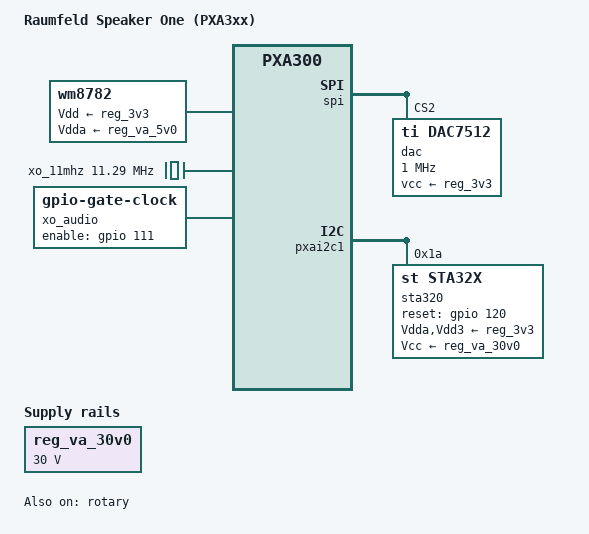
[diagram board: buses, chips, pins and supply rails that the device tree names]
// SPDX-License-Identifier: GPL-2.0

/dts-v1/;

#include "pxa300-raumfeld-common.dtsi"

/ {
	model = "Raumfeld Speaker One (PXA3xx)";
	compatible = "raumfeld,raumfeld-speaker-one-pxa303", "marvell,pxa300";

	wm8782: wm8782 {
		compatible = "wm8782";
		#sound-dai-cells = <0>;
		Vdd-supply = <&reg_3v3>;
		Vdda-supply = <&reg_va_5v0>;
	};

	xo_11mhz: oscillator-11mhz {
		compatible = "fixed-clock";
		#clock-cells = <0>;
		clock-frequency = <11289600>;
		clock-accuracy = <100>;
	};

	xo_audio: clock-gate {
		compatible = "gpio-gate-clock";
		pinctrlnames = "default";
		pinctrl-0 = <&xo_audio_pins>;
		clocks = <&xo_11mhz>;
		#clock-cells = <0>;
		enable-gpios = <&gpio 111 GPIO_ACTIVE_HIGH>;
	};

	reg_va_30v0: regulator-va-30v0 {
		compatible = "regulator-fixed";
		regulator-name = "va-30v0-fixed-supply";
		regulator-min-microvolt = <30000000>;
		regulator-max-microvolt = <30000000>;
	};

	sound {
		compatible = "simple-audio-card";
		simple-audio-card,name = "Raumfeld Speaker";
		#address-cells = <1>;
		#size-cells = <0>;

		simple-audio-card,dai-link@0 {
			reg = <0>;
			format = "i2s";
			bitclock-master = <&dailink_master_analog_out>;
			frame-master = <&dailink_master_analog_out>;
			mclk-fs = <256>;

			dailink_master_analog_out: cpu {
				sound-dai = <&ssp_dai0>;
			};

			codec {
				sound-dai = <&sta320>;
			};
		};

		simple-audio-card,dai-link@1 {
			reg = <1>;
			format = "i2s";
			bitclock-master = <&dailink_master_analog_in>;
			frame-master = <&dailink_master_analog_in>;
			mclk-fs = <256>;

			dailink_master_analog_in: cpu {
				sound-dai = <&ssp_dai0>;
			};

			codec {
				sound-dai = <&wm8782>;
			};
		};
	};
};

&ssp_dai0 {
	clocks = <&xo_audio>;
};

&spi {
	dac@2 {
		compatible = "ti,dac7512";
		reg = <2>;
		spi-max-frequency = <1000000>;
		vcc-supply = <&reg_3v3>;
	};
};

&rotary {
	status = "okay";
};

&pxai2c1 {
	sta320: codec@1a {
		compatible = "st,sta32x";
		reg = <0x1a>;
		pinctrl-names = "default";
		pinctrl-0 = <&sta320_pins>;
		clocks = <&xo_audio>;
		clock-names = "xti";
		reset-gpios = <&gpio 120 GPIO_ACTIVE_HIGH>;
		Vdda-supply = <&reg_3v3>;
		Vdd3-supply = <&reg_3v3>;
		Vcc-supply = <&reg_va_30v0>;
		#sound-dai-cells = <0>;
		st,thermal-warning-adjustment;
		st,thermal-warning-recovery;
		st,fault-detect-recovery;
		st,drop-compensation-ns = <80>;
		st,max-power-use-mpcc;
		st,invalid-input-detect-mute;
		/* 2 (half-bridge) and 1 (full-bridge) on-board power */
		st,output-conf = /bits/ 8 <0x1>;
		st,ch1-output-mapping = /bits/ 8 <0>;
		st,ch2-output-mapping = /bits/ 8 <1>;
		st,ch3-output-mapping = /bits/ 8 <2>;
		st,needs_esd_watchdog;
	};
};

&pinctrl {
	xo_audio_pins: xo-audio-pins {
		pinctrl-single,pins = <
			MFP_PIN_PXA300(111) MFP_AF0	/* ENABLE */
		>;
		pinctrl-single,low-power-mode = MFP_LPM(MFP_LPM_PULL_LOW);
	};

	sta320_pins: sta320-pins {
		pinctrl-single,pins = <
			MFP_PIN_PXA300(120) MFP_AF0	/* CODEC_RESET	*/
		>;
		pinctrl-single,low-power-mode = MFP_LPM(MFP_LPM_FLOAT);
	};
};
